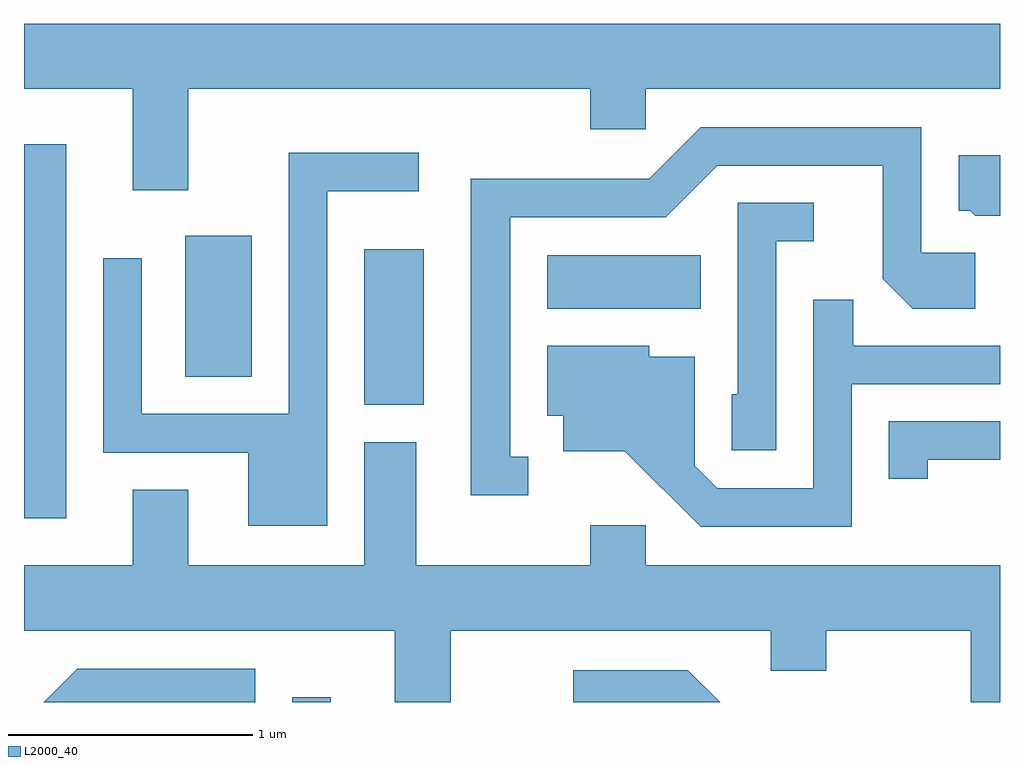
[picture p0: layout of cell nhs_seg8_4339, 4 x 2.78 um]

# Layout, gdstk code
import gdstk
lib = gdstk.Library(unit=1e-6, precision=1e-09)
def R(c, l, rs):  # rectangles x0, y0, x1, y1
    for r in rs: c.add(gdstk.rectangle(r[:2], r[2:], *l))
def P(c, l, *ps):  # polygons
    for p in ps: c.add(gdstk.Polygon(p, *l))
L2000_40 = (2000, 40)

nhs_seg8_4339 = lib.new_cell('nhs_seg8_4339')
R(nhs_seg8_4339, L2000_40, [(316.711,1838.342,316.869,1838.363), (315.611,1839.096,315.784,1840.629), (317.006,1839.561,317.249,1840.199), (316.271,1839.676,316.544,1840.254), (317.756,1839.956,318.384,1840.174)])
P(nhs_seg8_4339, L2000_40, [(316.284,1840.856),(317.931,1840.856),(317.931,1840.691),(318.159,1840.691),(318.159,1840.856),(319.611,1840.856),(319.611,1841.124),(315.611,1841.124),(315.611,1840.856),(316.056,1840.856),(316.056,1840.441),(316.284,1840.441)],
  [(317.678,1839.349),(317.604,1839.349),(317.604,1840.331),(318.242,1840.331),(318.452,1840.541),(319.131,1840.541),(319.131,1840.079),(319.254,1839.956),(319.509,1839.956),(319.509,1840.184),(319.289,1840.184),(319.289,1840.699),(318.384,1840.699),(318.174,1840.489),(317.441,1840.489),(317.441,1839.191),(317.678,1839.191)],
  [(316.854,1840.436),(317.228,1840.436),(317.228,1840.594),(316.696,1840.594),(316.696,1839.524),(316.094,1839.524),(316.094,1840.163),(315.936,1840.163),(315.936,1839.366),(316.531,1839.366),(316.531,1839.066),(316.854,1839.066)],
  [(319.611,1840.584),(319.441,1840.584),(319.441,1840.356),(319.489,1840.356),(319.509,1840.336),(319.611,1840.336)],
  [(318.694,1840.231),(318.848,1840.231),(318.848,1840.389),(318.536,1840.389),(318.536,1839.604),(318.511,1839.604),(318.511,1839.376),(318.694,1839.376)],
  [(319.004,1839.646),(319.611,1839.646),(319.611,1839.804),(319.009,1839.804),(319.009,1839.993),(318.846,1839.993),(318.846,1839.219),(318.452,1839.219),(318.359,1839.312),(318.359,1839.759),(318.174,1839.759),(318.174,1839.804),(317.756,1839.804),(317.756,1839.516),(317.821,1839.516),(317.821,1839.371),(318.074,1839.371),(318.384,1839.061),(319.004,1839.061)],
  [(319.314,1839.336),(319.611,1839.336),(319.611,1839.494),(319.156,1839.494),(319.156,1839.258),(319.314,1839.258)],
  [(317.359,1838.636),(318.671,1838.636),(318.671,1838.471),(318.899,1838.471),(318.899,1838.636),(319.491,1838.636),(319.491,1838.342),(319.611,1838.342),(319.611,1838.904),(318.159,1838.904),(318.159,1839.069),(317.931,1839.069),(317.931,1838.904),(317.219,1838.904),(317.219,1839.409),(317.006,1839.409),(317.006,1838.904),(316.284,1838.904),(316.284,1839.214),(316.056,1839.214),(316.056,1838.904),(315.611,1838.904),(315.611,1838.636),(317.131,1838.636),(317.131,1838.342),(317.359,1838.342)],
  [(316.559,1838.479),(315.829,1838.479),(315.692,1838.342),(316.559,1838.342)],
  [(318.332,1838.474),(317.863,1838.474),(317.863,1838.342),(318.464,1838.342)])

lib.write_gds('nhs_seg8_4339.gds')
